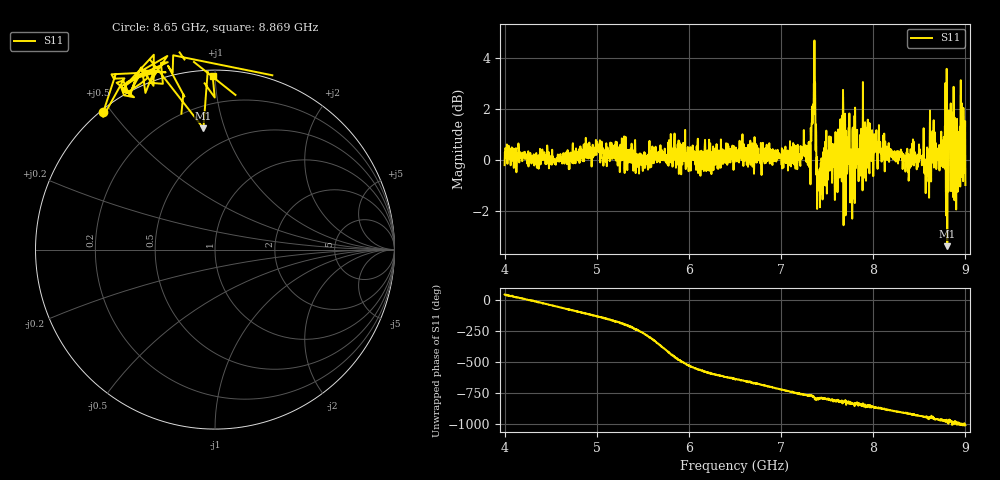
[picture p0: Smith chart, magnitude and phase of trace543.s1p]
! Created with skrf 1.8.0 (http://scikit-rf.org).
# Hz S RI R 50.0
!freq ReS11 ImS11
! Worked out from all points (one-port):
!   1601 points, 4 GHz to 9 GHz, reference 50 ohm
!   lowest |S11| = -3.4 dB at 8.803 GHz (marker M1), VSWR 5.23, Z = 16.9 + j42.5 ohm
!   |S11| at or under -10 dB: nowhere
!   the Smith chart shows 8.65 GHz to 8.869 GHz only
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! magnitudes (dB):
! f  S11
! 4 GHz  -0.2
! 4.625 GHz  -0.1
! 5.009 GHz  0.5
! 5.25 GHz  -0.5
! 5.875 GHz  -0.1
! 6.5 GHz  0.2
! 7.125 GHz  0.4
! 7.294 GHz  0.0
! 7.356 GHz  3.0
! 7.409 GHz  -0.9
! 7.534 GHz  0.6
! 7.609 GHz  -0.1
! 7.669 GHz  1.0
! 7.75 GHz  -1.6
! 7.769 GHz  -1.1
! 7.8 GHz  -1.7
! 8.038 GHz  0.6
! 8.375 GHz  -0.2
! 8.522 GHz  0.1
! 8.581 GHz  -0.3
! 8.656 GHz  1.6
! 8.7 GHz  0.2
! 8.803 GHz  -3.4
! 8.834 GHz  1.9
! 8.841 GHz  2.2
! 8.9 GHz  -1.9
! 8.972 GHz  1.1
! 9 GHz  -1.0
